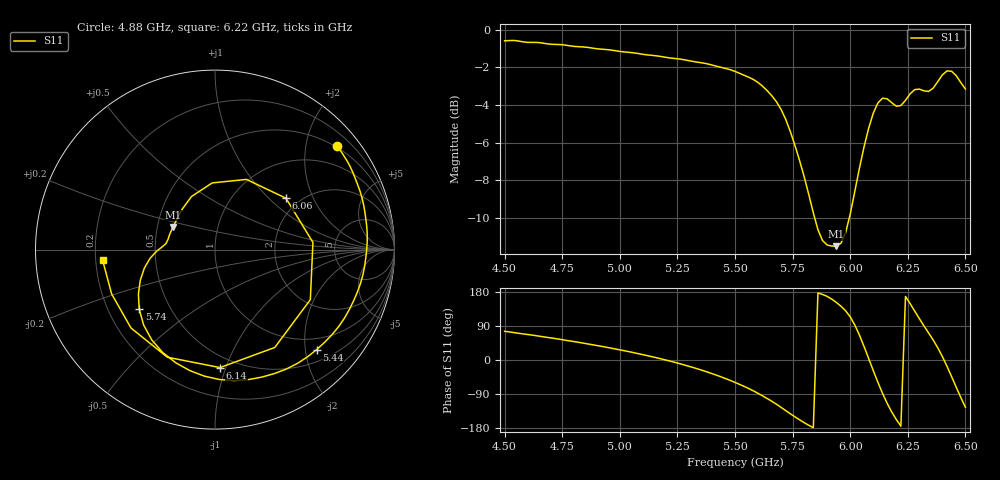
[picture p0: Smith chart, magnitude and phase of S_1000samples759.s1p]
! TOUCHSTONE file generated by CST MICROWAVE STUDIO
! Date and time: Sat Oct 29 07:05:22 2022
! Project name: L.cst
! Parameters = {Di=1.27; Epsilon_r=1.56; InnerDiameter=1.27; Length=2; Lf=10; Lg=60; OuterConductorThickness=0.2921; OuterDiameter=3.6; Wf=3; Wp=41.2; de=1.5; df=6.8; g=0.8; gx=2.14321; gy=1.9948; h=2.34; hf=1.524; px=8.82372; py=13.4442; w=9.7; wx=6.68051; wy=11.4494}
! Header version: 2018
! Port assignment regex: !\s*Touchstone port\s*([0-9]+)\s*=\s*(CST MWS port|CST DS port)\s*([0-9]+|Zmin|Zmax)\s*\(\"(.*)\"\)(\s*mode\s*([0-9]+))?.*
! Touchstone port assignment:
! Touchstone port 1 = CST MWS port 1 ("")
# GHz S DB R 50
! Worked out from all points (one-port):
!   101 points, 4.5 GHz to 6.5 GHz, reference 50 ohm
!   lowest |S11| = -11.5 dB at 5.94 GHz (marker M1), VSWR 1.73, Z = 30.2 + j8.16 ohm
!   |S11| at or under -10 dB: 5.846 GHz to 5.996 GHz (150 MHz wide, 2.53 % of centre)
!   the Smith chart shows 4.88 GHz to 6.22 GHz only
!   S11 on the Smith chart (normalised r, x): 4.88 GHz: 0.46, +2.65; 5.44 GHz: 0.74, -2.23; 5.74 GHz: 0.33, -0.31; 6.06 GHz: 1.70, +1.28; 6.14 GHz: 0.41, -0.95; 6.22 GHz: 0.23, -0.04
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4.5  -0.59 75.7
4.76  -0.81 52.6
4.88  -0.97 40.4
5  -1.15 26.8
5.26  -1.56 -9.6
5.44  -2.00 -44.5
5.5  -2.21 -59.1
5.62  -3.00 -94.7
5.74  -5.40 -141.8
5.76  -6.14 -149.9
5.94  -11.50 151.8
6  -9.80 113.9
6.04  -7.36 65.9
6.06  -6.23 35.9
6.08  -5.24 4.2
6.1  -4.44 -27.7
6.12  -3.89 -58.6
6.14  -3.64 -87.6
6.18  -3.87 -137.0
6.22  -4.03 -174.7
6.26  -3.40 148.9
6.3  -3.15 109.2
6.32  -3.24 90.1
6.36  -3.10 52.9
6.4  -2.40 9.2
6.42  -2.19 -16.4
6.46  -2.44 -71.5
6.5  -3.15 -124.6
